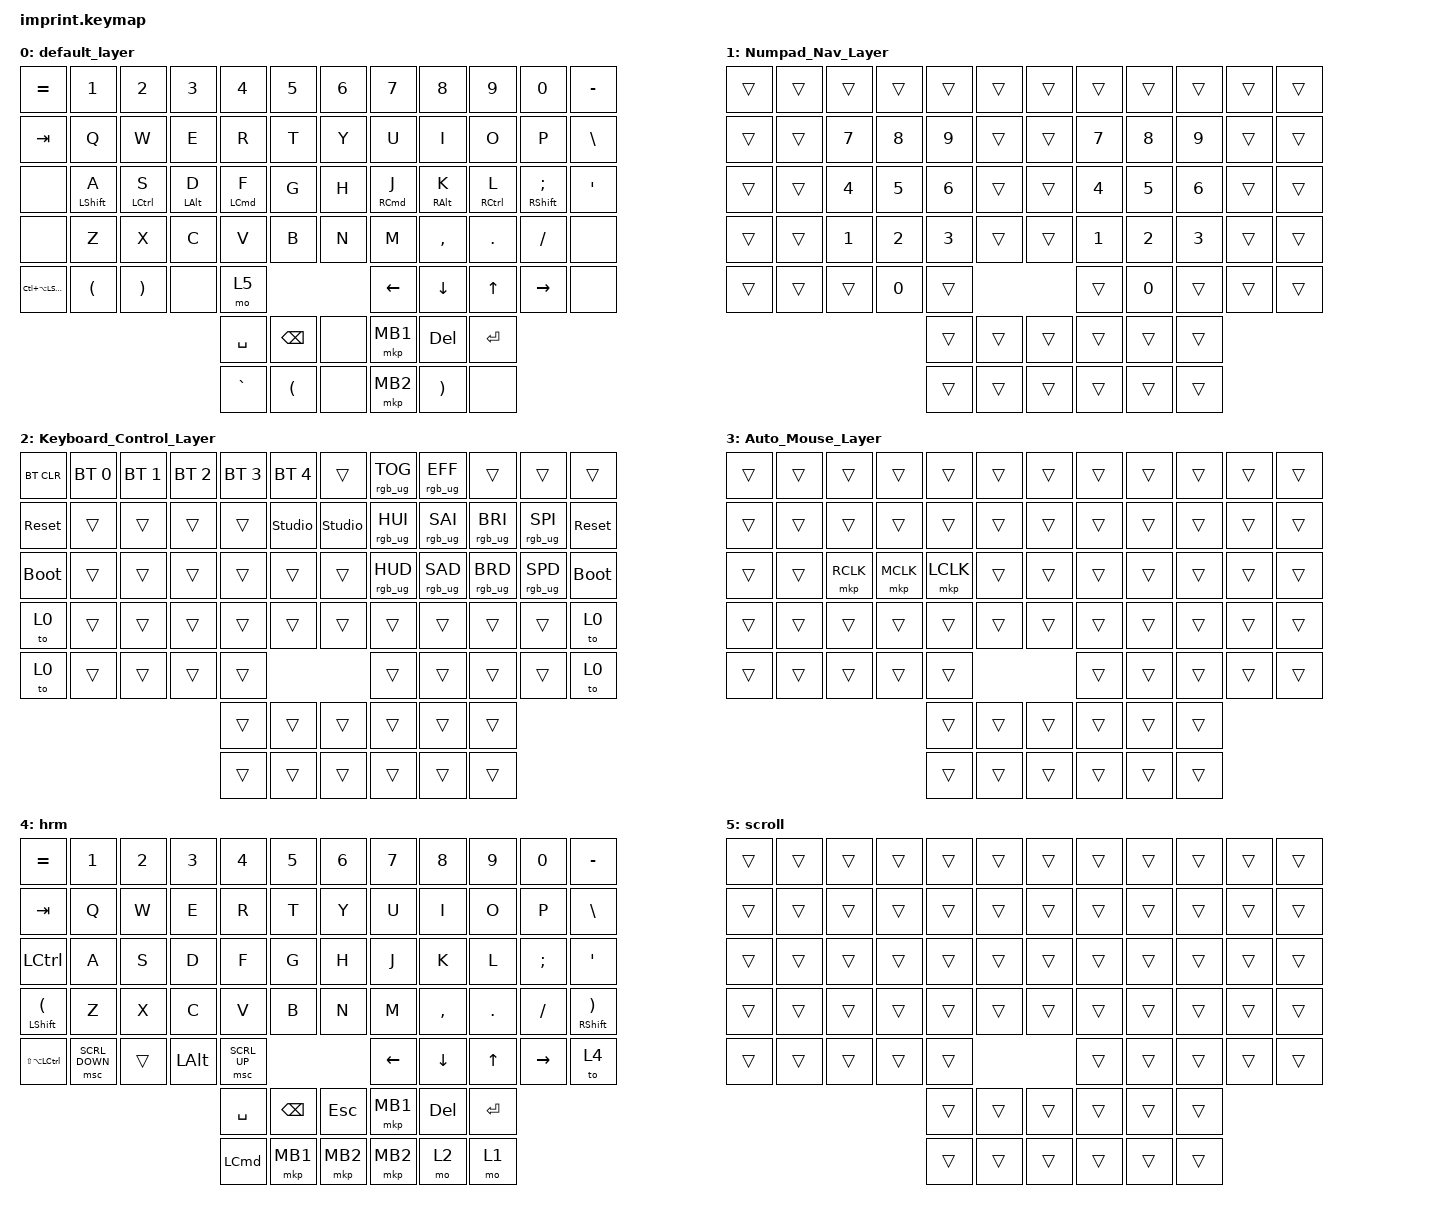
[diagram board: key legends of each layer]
#include <input/processors.dtsi>
#include <dt-bindings/zmk/input_transform.h>
#include <behaviors.dtsi>
#include <dt-bindings/zmk/bt.h>
#include <dt-bindings/zmk/keys.h>
#include <dt-bindings/zmk/pointing.h>
#include <dt-bindings/zmk/rgb.h>

&mt {
    flavor = "tap-preferred";
    tapping-term-ms = <170>;
};

/ {
    chosen { zmk,matrix-transform = &imprint_number_row_full_bottom_row; };

    combos {
        compatible = "zmk,combos";

        escape {
            bindings = <&kp ESC>;
            key-positions = <27 28>;
        };

        l-curly {
            bindings = <&kp LEFT_BRACE>;
            key-positions = <31 32>;
        };

        r-curly {
            bindings = <&kp RIGHT_BRACE>;
            key-positions = <32 33>;
        };

        l-bracket {
            bindings = <&kp LEFT_BRACKET>;
            key-positions = <43 44>;
        };

        r-bracket {
            bindings = <&kp RIGHT_BRACKET>;
            key-positions = <44 45>;
        };
    };

    behaviors {
        parens: parens {
            compatible = "zmk,behavior-tap-dance";
            label = "PARENS";
            #binding-cells = <0>;
            bindings = <&kp LEFT_PARENTHESIS>, <&kp RIGHT_PARENTHESIS>;
        };
    };

    keymap {
        compatible = "zmk,keymap";

        default_layer {
            bindings = <
&kp EQUAL               &kp N1                &kp N2                 &kp N3          &kp N4              &kp N5                         &kp N6    &kp N7                 &kp N8           &kp N9               &kp N0                     &kp MINUS
&kp TAB                 &kp Q                 &kp W                  &kp E           &kp R               &kp T                          &kp Y     &kp U                  &kp I            &kp O                &kp P                      &kp BSLH
&none                   &mt LSHFT A           &mt LCTRL S            &mt LEFT_ALT D  &mt LEFT_COMMAND F  &kp G                          &kp H     &mt RIGHT_COMMAND J    &mt RIGHT_ALT K  &mt RIGHT_CONTROL L  &mt RIGHT_SHIFT SEMICOLON  &kp APOS
&none                   &kp Z                 &kp X                  &kp C           &kp V               &kp B                          &kp N     &kp M                  &kp COMMA        &kp DOT              &kp FSLH                   &none
&kp LC(LA(LEFT_SHIFT))  &kp LEFT_PARENTHESIS  &kp RIGHT_PARENTHESIS  &none           &mo 5                                                        &kp LEFT               &kp DOWN_ARROW   &kp UP_ARROW         &kp RIGHT_ARROW            &none
                                                                                     &kp SPACE           &kp BACKSPACE         &none    &mkp MB1  &kp DEL                &kp RET
                                                                                     &kp GRAVE           &kp LEFT_PARENTHESIS  &none    &mkp MB2  &kp RIGHT_PARENTHESIS  &none
            >;
        };

        Numpad_Nav_Layer {
            bindings = <
&trans  &trans  &trans  &trans  &trans  &trans            &trans  &trans        &trans  &trans        &trans  &trans
&trans  &trans  &kp N7  &kp N8  &kp N9  &trans            &trans  &kp N7        &kp N8  &kp N9        &trans  &trans
&trans  &trans  &kp N4  &kp N5  &kp N6  &trans            &trans  &kp NUMBER_4  &kp N5  &kp N6        &trans  &trans
&trans  &trans  &kp N1  &kp N2  &kp N3  &trans            &trans  &kp NUMBER_1  &kp N2  &kp NUMBER_3  &trans  &trans
&trans  &trans  &trans  &kp N0  &trans                            &trans        &kp N0  &trans        &trans  &trans
                                &trans  &trans  &trans    &trans  &trans        &trans
                                &trans  &trans  &trans    &trans  &trans        &trans
            >;
        };

        Keyboard_Control_Layer {
            bindings = <
&bt BT_CLR   &bt BT_SEL 0  &bt BT_SEL 1  &bt BT_SEL 2  &bt BT_SEL 3  &bt BT_SEL 4              &trans          &rgb_ug RGB_TOG  &rgb_ug RGB_EFF  &trans           &trans           &trans
&sys_reset   &trans        &trans        &trans        &trans        &studio_unlock            &studio_unlock  &rgb_ug RGB_HUI  &rgb_ug RGB_SAI  &rgb_ug RGB_BRI  &rgb_ug RGB_SPI  &sys_reset
&bootloader  &trans        &trans        &trans        &trans        &trans                    &trans          &rgb_ug RGB_HUD  &rgb_ug RGB_SAD  &rgb_ug RGB_BRD  &rgb_ug RGB_SPD  &bootloader
&to 0        &trans        &trans        &trans        &trans        &trans                    &trans          &trans           &trans           &trans           &trans           &to 0
&to 0        &trans        &trans        &trans        &trans                                                  &trans           &trans           &trans           &trans           &to 0
                                                       &trans        &trans          &trans    &trans          &trans           &trans
                                                       &trans        &trans          &trans    &trans          &trans           &trans
            >;
        };

        Auto_Mouse_Layer {
            bindings = <
&trans  &trans  &trans     &trans     &trans     &trans            &trans  &trans  &trans  &trans  &trans  &trans
&trans  &trans  &trans     &trans     &trans     &trans            &trans  &trans  &trans  &trans  &trans  &trans
&trans  &trans  &mkp RCLK  &mkp MCLK  &mkp LCLK  &trans            &trans  &trans  &trans  &trans  &trans  &trans
&trans  &trans  &trans     &trans     &trans     &trans            &trans  &trans  &trans  &trans  &trans  &trans
&trans  &trans  &trans     &trans     &trans                               &trans  &trans  &trans  &trans  &trans
                                      &trans     &trans  &trans    &trans  &trans  &trans
                                      &trans     &trans  &trans    &trans  &trans  &trans
            >;
        };

        hrm {
            bindings = <
&kp EQUAL                        &kp N1          &kp N2  &kp N3    &kp N4            &kp N5                     &kp N6    &kp N7    &kp N8     &kp N9        &kp N0     &kp MINUS
&kp TAB                          &kp Q           &kp W   &kp E     &kp R             &kp T                      &kp Y     &kp U     &kp I      &kp O         &kp P      &kp BSLH
&kp LCTRL                        &kp A           &kp S   &kp D     &kp F             &kp G                      &kp H     &kp J     &kp K      &kp L         &kp SEMI   &kp SQT
&mt LEFT_SHIFT LEFT_PARENTHESIS  &kp Z           &kp X   &kp C     &kp V             &kp B                      &kp N     &kp M     &kp COMMA  &kp DOT       &kp FSLH   &mt RSHFT RIGHT_PARENTHESIS
&kp LS(LA(LEFT_CONTROL))         &msc SCRL_DOWN  &trans  &kp LALT  &msc SCRL_UP                                           &kp LEFT  &kp DOWN   &kp UP_ARROW  &kp RIGHT  &to 4
                                                                   &kp SPACE         &kp BACKSPACE  &kp ESC     &mkp MB1  &kp DEL   &kp RET
                                                                   &kp LEFT_COMMAND  &mkp MB1       &mkp MB2    &mkp MB2  &mo 2     &mo 1
            >;
        };

        scroll {
            bindings = <
&trans  &trans  &trans  &trans  &trans  &trans            &trans  &trans  &trans  &trans  &trans  &trans
&trans  &trans  &trans  &trans  &trans  &trans            &trans  &trans  &trans  &trans  &trans  &trans
&trans  &trans  &trans  &trans  &trans  &trans            &trans  &trans  &trans  &trans  &trans  &trans
&trans  &trans  &trans  &trans  &trans  &trans            &trans  &trans  &trans  &trans  &trans  &trans
&trans  &trans  &trans  &trans  &trans                            &trans  &trans  &trans  &trans  &trans
                                &trans  &trans  &trans    &trans  &trans  &trans
                                &trans  &trans  &trans    &trans  &trans  &trans
            >;
        };
    };
};

// right hand trackball configuration
// &trackball_peripheral_listener {
//    input-processors =
//     activate layer 3 within 500ms of the trackball moving
//     <&zip_temp_layer 3 500>;
// };
//left hand trackball configuration

&trackball_peripheral_listener {
    // Normal mode: plain cursor movement.
    // This is effectively a no-op, but gives the listener a base processor list.

    input-processors = <&zip_xy_scaler 1 1>;

    scroll_mode {
        layers = <5>;
        input-processors =
            <&zip_xy_to_scroll_mapper>,
            <&zip_scroll_transform INPUT_TRANSFORM_Y_INVERT>,
            <&zip_scroll_scaler 1 25>;
    };
};
